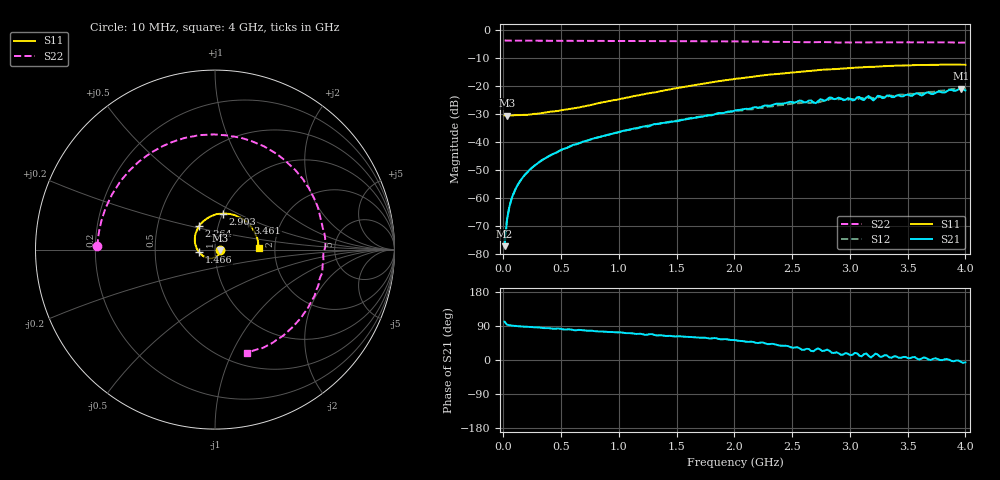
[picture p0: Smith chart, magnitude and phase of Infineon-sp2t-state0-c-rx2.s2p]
! 5/10/2016 1:44:12 PM
! C:\ANRITSUVNA\DATA\INFINEON-SP2T-STATE0-C-RX2.S2P
! CHANNEL.1
! TR.MEASUREMENT
! CORRECTED.DATA
# GHZ S RI R 50.0
! FREQ.GHZ  S11RE  S11IM  S21RE  S21IM  S12RE  S12IM  S22RE  S22IM
!; PortSelection: Port_12
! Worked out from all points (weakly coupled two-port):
!   201 points, 10 MHz to 4 GHz, reference 50 ohm
!   highest |S21| = -20.82 dB at 3.96 GHz (marker M1); lowest = -77.1 dB at 10 MHz (marker M2)
!   lowest |S11| = -30.4 dB at 29.95 MHz (marker M3), VSWR 1.06, Z = 53.1 - j0.267 ohm
!   |S11| at or under -10 dB: start of sweep to end of sweep
!   |S22| runs from -4.4 to -3.6 dB; largest |S21 - S12| = 0.0093
!   S11 on the Smith chart (normalised r, x): 10 MHz: 1.06, -0.00; 1.466 GHz: 0.84, -0.02; 2.264 GHz: 0.81, +0.22; 2.903 GHz: 1.01, +0.42; 3.461 GHz: 1.38, +0.43; 4 GHz: 1.64, +0.03
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0.01  0.0303 -0.00192  -2.65e-05 0.000138  -2.01e-05 0.000144  -0.6585 0.0189
0.02995  0.03 -0.00252  -2.37e-05 0.000405  -2.47e-05 0.000406  -0.6546 0.0242
0.0499  0.0299 -0.00389  -2.27e-05 0.00069  -2.44e-05 0.000682  -0.6533 0.0397
0.0898  0.0297 -0.00686  -4.3e-06 0.00126  -2.8e-06 0.00125  -0.6506 0.0698
0.2095  0.0269 -0.0154  0.000126 0.00297  0.000131 0.00296  -0.6336 0.158
0.409  0.0196 -0.0293  0.000671 0.0059  0.000686 0.00584  -0.5789 0.2968
0.6883  -0.00151 -0.0435  0.00206 0.0101  0.00198 0.00995  -0.456 0.4595
1.34665  -0.0759 -0.0276  0.00901 0.0193  0.00912 0.0197  -0.0317 0.641
1.46635  -0.0895 -0.0144  0.0108 0.0209  0.0111 0.0211  0.0521 0.6376
2.005  -0.1109 0.0782  0.0225 0.0294  0.0232 0.0275  0.3899 0.4968
2.26435  -0.0889 0.1308  0.0328 0.0318  0.0308 0.029  0.5067 0.3664
2.5636  -0.0375 0.1774  0.0478 0.0289  0.0423 0.0268  0.5854 0.1847
2.6833  -0.011 0.1904  0.0477 0.0202  0.0452 0.0248  0.6023 0.1135
2.90275  0.0457 0.2  0.06 0.0192  0.0545 0.0219  0.603 -0.0332
3.1222  0.1033 0.1937  0.0549 0.015  0.0583 0.0164  0.5814 -0.1685
3.1621  0.1133 0.1911  0.0661 0.0128  0.0597 0.0178  0.5776 -0.192
3.202  0.1225 0.1865  0.0551 0.0112  0.0596 0.0145  0.5695 -0.2137
3.2419  0.1343 0.1811  0.0657 0.0165  0.0607 0.018  0.5591 -0.2437
3.34165  0.1594 0.1675  0.0683 0.00812  0.0659 0.0162  0.5287 -0.304
3.46135  0.1848 0.1463  0.0657 0.0093  0.0699 0.012  0.4848 -0.3719
3.9601  0.2415 0.0192  0.0906 -0.00746  0.0916 -0.00533  0.1974 -0.5702
4  0.2425 0.00936  0.0839 -0.00902  0.0922 -0.0102  0.1784 -0.5779
